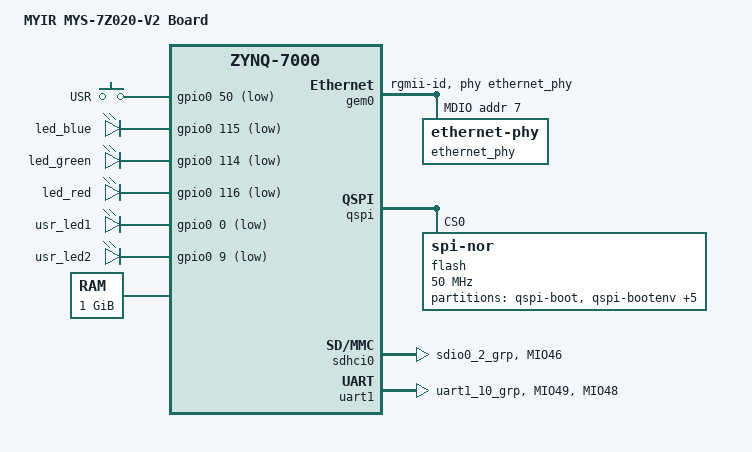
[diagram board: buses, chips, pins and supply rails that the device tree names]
// SPDX-License-Identifier: GPL-2.0
/*
 * Copyright (C) 2026 Liu Yu <f78fk@live.com>
 */
/dts-v1/;
#include <dt-bindings/gpio/gpio.h>
#include <dt-bindings/input/input.h>
#include "zynq-7000.dtsi"

/ {
	model = "MYIR MYS-7Z020-V2 Board";
	compatible = "myir,mys-7z020-v2", "xlnx,zynq-7000";

	aliases {
		ethernet0 = &gem0;
		mmc0 = &sdhci0;
		serial0 = &uart1;
		spi0 = &qspi;
	};

	chosen {
		stdout-path = "serial0:115200n8";
	};

	gpio-keys {
		compatible = "gpio-keys";
		autorepeat;

		key-user {
			label = "USR";
			gpios = <&gpio0 50 GPIO_ACTIVE_LOW>;
			linux,code = <KEY_PROG1>;
			wakeup-source;
		};
	};

	gpio-leds {
		compatible = "gpio-leds";

		led-blue {
			label = "led_blue";
			gpios = <&gpio0 115 GPIO_ACTIVE_LOW>;
			default-state = "off";
		};

		led-green {
			label = "led_green";
			gpios = <&gpio0 114 GPIO_ACTIVE_LOW>;
			default-state = "off";
		};

		led-red {
			label = "led_red";
			gpios = <&gpio0 116 GPIO_ACTIVE_LOW>;
			default-state = "off";
		};

		usr-led1 {
			label = "usr_led1";
			gpios = <&gpio0 0 GPIO_ACTIVE_LOW>;
			default-state = "off";
		};

		usr-led2 {
			label = "usr_led2";
			gpios = <&gpio0 9 GPIO_ACTIVE_LOW>;
			default-state = "off";
		};
	};

	memory@0 {
		device_type = "memory";
		reg = <0x0 0x40000000>;
	};
};

&clkc {
	ps-clk-frequency = <33333333>;
};

&gem0 {
	phy-mode = "rgmii-id";
	phy-handle = <&ethernet_phy>;

	status = "okay";

	mdio {
		#address-cells = <1>;
		#size-cells = <0>;

		ethernet_phy: ethernet-phy@7 {
			reg = <0x7>;
		};
	};
};

&gpio0 {
	pinctrl-names = "default";
	pinctrl-0 = <&pinctrl_gpio0_default>;
};

&pinctrl0 {
	pinctrl_gpio0_default: gpio0-default {
		mux {
			function = "gpio0";
			groups = "gpio0_0_grp", "gpio0_9_grp", "gpio0_50_grp";
		};
		conf {
			groups = "gpio0_0_grp", "gpio0_9_grp", "gpio0_50_grp";
			slew-rate = <0>;
			io-standard = <1>;
		};
		conf-pull-up {
			pins = "MIO0", "MIO9", "MIO50";
			bias-pull-up;
		};
	};

	pinctrl_sdhci0_default: sdhci0-default {
		mux {
			groups = "sdio0_2_grp";
			function = "sdio0";
		};
		conf {
			groups = "sdio0_2_grp";
			slew-rate = <0>;
			io-standard = <1>;
			bias-disable;
		};
		conf-cd {
			pins = "MIO46";
			bias-pull-up;
			slew-rate = <0>;
			io-standard = <1>;
		};
	};

	pinctrl_uart1_default: uart1-default {
		mux {
			groups = "uart1_10_grp";
			function = "uart1";
		};
		conf {
			groups = "uart1_10_grp";
			slew-rate = <0>;
			io-standard = <1>;
		};
		conf-rx {
			pins = "MIO49";
			bias-high-impedance;
		};
		conf-tx {
			pins = "MIO48";
			bias-disable;
		};
	};
};

&qspi {
	num-cs = <1>;

	status = "okay";

	flash@0 {
		compatible = "jedec,spi-nor";
		reg = <0x0>;
		spi-tx-bus-width = <1>;
		spi-rx-bus-width = <4>;
		spi-max-frequency = <50000000>;

		partitions {
			compatible = "fixed-partitions";
			#address-cells = <1>;
			#size-cells = <1>;

			partition@0 {
				label = "qspi-boot";
				reg = <0x0 0x80000>;
			};

			partition@80000 {
				label = "qspi-bootenv";
				reg = <0x80000 0x20000>;
			};

			partition@a0000 {
				label = "qspi-bitstream";
				reg = <0xa0000 0x460000>;
			};

			partition@500000 {
				label = "qspi-kernel";
				reg = <0x500000 0x480000>;
			};

			partition@980000 {
				label = "qspi-devicetree";
				reg = <0x980000 0x10000>;
			};

			partition@990000 {
				label = "qspi-rootfs";
				reg = <0x990000 0x600000>;
			};

			partition@f90000 {
				label = "data";
				reg = <0xf90000 0x70000>;
			};
		};
	};
};

&sdhci0 {
	pinctrl-names = "default";
	pinctrl-0 = <&pinctrl_sdhci0_default>;
	disable-wp;

	status = "okay";
};

&uart1 {
	pinctrl-names = "default";
	pinctrl-0 = <&pinctrl_uart1_default>;

	status = "okay";
};

